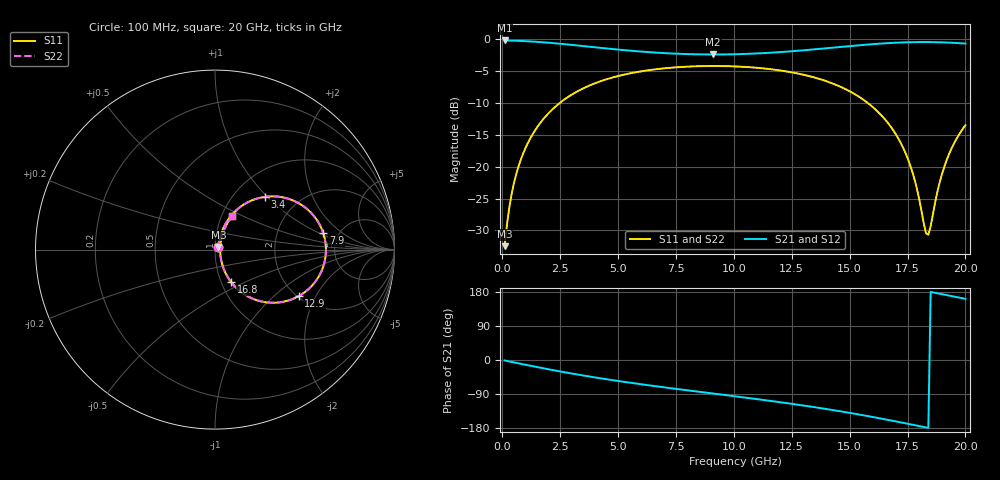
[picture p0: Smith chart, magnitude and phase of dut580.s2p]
! Touchstone file exported from HFSS 2026.1.0
!  File:  C:/ffzhzh/LocalFiles/Ansys_Project_Files/temp_train_TSV_RDL_580_1783118856_53076.aedt
!  Generated:  06:57:12 AM Jul  4, 2026
!  Design:  TSV_RDL
!  Project:  temp_train_TSV_RDL_580_1783118856_53076
! Variables:
!  h_bsmrdl = 4.05um
!  h_ox = 20um
!  h_rdl = 5um
!  h_sub = 60.98um
!  h_tmrdl = 5.42um
!  h_tsv = 60.98um
!  h_via = 3um
!  l_bsmrdl = 750.1um
!  l_sub = 3368.96um
!  l_tmrdl = 160.03um
!  m_sub = 200um
!  pitch = 47.39um
!  r_tsv = 9.63um
!  s_tmrdl = 10um
!  w_bsmrdl = 13.59um
!  w_sub = 500um
!  w_tmrdl = 12.59um
!  x_tsv_center1 = 166.325um
!  x_tsv_center2 = 930.015um
!  x_tsv_center3 = 1102.635um
!  x_tsv_center4 = 1866.325um
!  x_tsv_center5 = 2038.945um
!  x_tsv_center6 = 2802.635um
# GHz S MA R 50.000000
! Terminal data exported
! Port[1] = TM_RDL1_1_T1
! Port[2] = TM_RDL5_1_T1
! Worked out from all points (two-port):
!   200 points, 100 MHz to 20 GHz, reference 50 ohm
!   highest |S21| = -0.17 dB at 100 MHz (marker M1); lowest = -2.4 dB at 9.1 GHz (marker M2)
!   |S21| within 3 dB of the highest: start of sweep to end of sweep
!   lowest |S11| = -32.5 dB at 100 MHz (marker M3), VSWR 1.05, Z = 51.9 + j1.47 ohm
!   |S11| at or under -10 dB: start of sweep to 2.479 GHz; 15.79 GHz to end of sweep
!   |S22| runs from -32.5 to -4.2 dB; largest |S21 - S12| = 1.5e-14
!   S11 on the Smith chart (normalised r, x): 100 MHz: 1.04, +0.03; 3.4 GHz: 1.38, +0.97; 7.9 GHz: 3.77, +1.13; 12.9 GHz: 2.03, -1.47; 16.8 GHz: 1.11, -0.42; 20 GHz: 1.12, +0.44
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0.1  0.02374 36.7  0.9812 -1.3  0.9812 -1.3  0.02374 36.7
! Gamma 0 0 0 0
! Port Impedance 50 0 50 0
0.3  0.04746 61.8  0.9796 -3.9  0.9796 -3.9  0.04746 61.8
0.5  0.0739 67.6  0.9771 -6.4  0.9771 -6.4  0.0739 67.6
1.1  0.1529 68.0  0.9665 -13.8  0.9665 -13.8  0.1529 68.0
2.1  0.2748 59.5  0.9385 -25.7  0.9385 -25.7  0.2748 59.5
3.4  0.4043 46.6  0.8903 -39.9  0.8903 -39.9  0.4043 46.6
3.5  0.4128 45.7  0.8864 -41.0  0.8864 -41.0  0.4128 45.7
6.8  0.5876 17.2  0.7841 -70.6  0.7841 -70.6  0.5876 17.2
7.9  0.6099 8.9  0.7677 -79.3  0.7677 -79.3  0.6099 8.9
9.1  0.6182 0.0  0.7613 -88.5  0.7613 -88.5  0.6182 0.0
10.1  0.613 -7.3  0.7652 -96.2  0.7652 -96.2  0.613 -7.3
12.9  0.533 -29.2  0.8178 -119.2  0.8178 -119.2  0.533 -29.2
13.4  0.5067 -33.4  0.8327 -123.7  0.8327 -123.7  0.5067 -33.4
15.3  0.3644 -50.6  0.8959 -142.7  0.8959 -142.7  0.3644 -50.6
16.7  0.2153 -62.8  0.9359 -158.5  0.9359 -158.5  0.2153 -62.8
16.8  0.2034 -63.5  0.9381 -159.7  0.9381 -159.7  0.2034 -63.5
17.6  0.1047 -65.1  0.9506 -169.3  0.9506 -169.3  0.1047 -65.1
17.9  0.06781 -59.5  0.9528 -173.0  0.9528 -173.0  0.06786 -59.4
18.3  0.02999 -15.7  0.9534 -177.9  0.9534 -177.9  0.0301 -15.7
18.4  0.0292 9.0  0.9531 -179.2  0.9531 -179.2  0.0293 8.9
19.1  0.1013 64.5  0.9467 172.2  0.9467 172.2  0.1013 64.4
20  0.2117 62.7  0.9277 161.5  0.9277 161.5  0.2117 62.7
